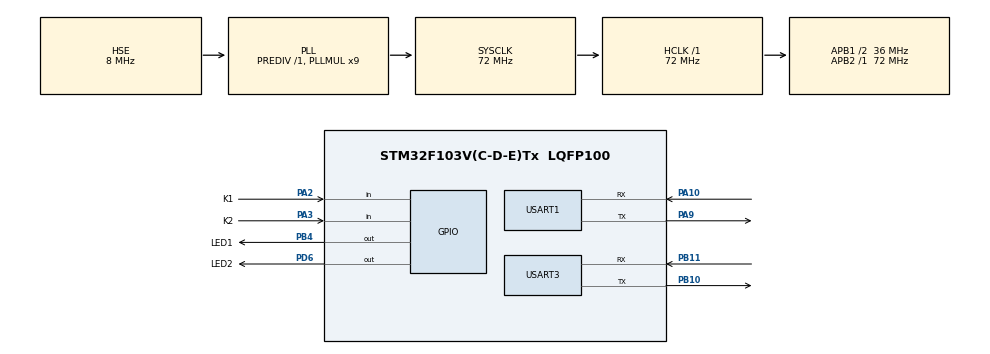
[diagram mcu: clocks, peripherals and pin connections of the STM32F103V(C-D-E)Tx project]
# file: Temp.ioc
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Mcu.Family=STM32F1
Mcu.Name=STM32F103V(C-D-E)Tx
Mcu.Package=LQFP100
NVIC.PriorityGroup=NVIC_PRIORITYGROUP_4
NVIC.USART1_IRQn=true\:0\:0\:false\:false\:true\:true\:true\:true
NVIC.USART3_IRQn=true\:0\:0\:false\:false\:true\:true\:true\:true
OSC_IN.Mode=HSE-External-Oscillator
OSC_IN.Signal=RCC_OSC_IN
OSC_OUT.Mode=HSE-External-Oscillator
OSC_OUT.Signal=RCC_OSC_OUT
PA10.Mode=Asynchronous
PA10.Signal=USART1_RX
PA13.Mode=Serial_Wire
PA13.Signal=SYS_JTMS-SWDIO
PA14.Mode=Serial_Wire
PA14.Signal=SYS_JTCK-SWCLK
PA2.GPIO_Label=K1
PA2.Signal=GPIO_Input
PA3.GPIO_Label=K2
PA3.Signal=GPIO_Input
PA9.Mode=Asynchronous
PA9.Signal=USART1_TX
PB10.Mode=Asynchronous
PB10.Signal=USART3_TX
PB11.Mode=Asynchronous
PB11.Signal=USART3_RX
PB4.GPIO_Label=LED1
PB4.GPIO_ModeDefaultOutputPP=GPIO_MODE_OUTPUT_PP
PB4.GPIO_PuPd=GPIO_PULLUP
PB4.GPIO_Speed=GPIO_SPEED_FREQ_HIGH
PB4.PinState=GPIO_PIN_SET
PB4.Signal=GPIO_Output
PC14-OSC32_IN.Mode=LSE-External-Oscillator
PC14-OSC32_IN.Signal=RCC_OSC32_IN
PC15-OSC32_OUT.Mode=LSE-External-Oscillator
PC15-OSC32_OUT.Signal=RCC_OSC32_OUT
PD6.GPIO_Label=LED2
PD6.GPIO_ModeDefaultOutputPP=GPIO_MODE_OUTPUT_PP
PD6.GPIO_PuPd=GPIO_PULLUP
PD6.GPIO_Speed=GPIO_SPEED_FREQ_HIGH
PD6.PinState=GPIO_PIN_SET
PD6.Signal=GPIO_Output
ProjectManager.HeapSize=0x200
ProjectManager.StackSize=0x400
ProjectManager.TargetToolchain=MDK-ARM V5.32
RCC.AHBFreq_Value=72000000
RCC.APB1CLKDivider=RCC_HCLK_DIV2
RCC.APB1Freq_Value=36000000
RCC.APB1TimFreq_Value=72000000
RCC.APB2Freq_Value=72000000
RCC.APB2TimFreq_Value=72000000
RCC.HCLKFreq_Value=72000000
RCC.PLLMUL=RCC_PLL_MUL9
RCC.PLLSourceVirtual=RCC_PLLSOURCE_HSE
RCC.RCC_MCOSource=RCC_MCO1SOURCE_PLLCLK
RCC.SYSCLKFreq_VALUE=72000000
RCC.SYSCLKSource=RCC_SYSCLKSOURCE_PLLCLK
RCC.USBFreq_Value=72000000
USART1.VirtualMode=VM_ASYNC
USART3.VirtualMode=VM_ASYNC
board=custom

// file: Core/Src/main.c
/* USER CODE BEGIN Header */
/**
  ******************************************************************************
  * @file           : main.c
  * @brief          : Main program body
  ******************************************************************************
  * @attention
  *
  * Copyright (c) 2025 STMicroelectronics.
  * All rights reserved.
  *
  * This software is licensed under terms that can be found in the LICENSE file
  * in the root directory of this software component.
  * If no LICENSE file comes with this software, it is provided AS-IS.
  *
  ******************************************************************************
  */
/* USER CODE END Header */
#include "main.h"

/* USER CODE BEGIN Includes */
#include "stdio.h"//printf������
/* USER CODE END Includes */

/* USER CODE BEGIN PTD */
uint8_t rx_buff[100];  //接收缓存
uint8_t rx_done = 0; //接收完成标志
uint8_t rx_cnt = 0;//接收数据长度
/* USER CODE END PTD */

UART_HandleTypeDef huart1;
UART_HandleTypeDef huart3;

void SystemClock_Config(void);
static void MX_GPIO_Init(void);
static void MX_USART1_UART_Init(void);
static void MX_USART3_UART_Init(void);

int main(void)
{

  /* MCU Configuration--------------------------------------------------------*/

  /* Reset of all peripherals, Initializes the Flash interface and the Systick. */
  HAL_Init();

  /* Configure the system clock */
  SystemClock_Config();

  /* Initialize all configured peripherals */
  MX_GPIO_Init();
  MX_USART1_UART_Init();
  MX_USART3_UART_Init();
  /* USER CODE BEGIN 2 */
	HAL_Delay(1000);
  printf("hello RS422!\r\n");
  //串口发数据
  unsigned char Sendbuf[]="RYMCU nebula-pi RS422 test!\r\n";
  HAL_UART_Transmit(&huart3,Sendbuf,sizeof(Sendbuf),HAL_MAX_DELAY);

  /* USER CODE END 2 */

  /* Infinite loop */
  while (1)
  {

    /* USER CODE BEGIN 3 */
    if(rx_done == 1)//判读是否接收完成
    {
        rx_done = 0;//清除接收标志
        // 数据处理，打印接收长度以及接收的数据
        printf("length of rx data: %d!\r\n",rx_cnt);
        for(int i = 0;i<rx_cnt;i++) printf("%c",rx_buff[i]);
        printf("\r\n");

        rx_cnt =0;//清除接收长度
    }
    HAL_GPIO_TogglePin(LED1_GPIO_Port, LED1_Pin); // 切换亮灭状，添加此语句防止优化
  }
  /* USER CODE END 3 */
}

void SystemClock_Config(void)
{
  RCC_OscInitTypeDef RCC_OscInitStruct = {0};
  RCC_ClkInitTypeDef RCC_ClkInitStruct = {0};

  /** Initializes the RCC Oscillators according to the specified parameters
  * in the RCC_OscInitTypeDef structure.
  */
  RCC_OscInitStruct.OscillatorType = RCC_OSCILLATORTYPE_HSE;
  RCC_OscInitStruct.HSEState = RCC_HSE_ON;
  RCC_OscInitStruct.HSEPredivValue = RCC_HSE_PREDIV_DIV1;
  RCC_OscInitStruct.HSIState = RCC_HSI_ON;
  RCC_OscInitStruct.PLL.PLLState = RCC_PLL_ON;
  RCC_OscInitStruct.PLL.PLLSource = RCC_PLLSOURCE_HSE;
  RCC_OscInitStruct.PLL.PLLMUL = RCC_PLL_MUL9;
  if (HAL_RCC_OscConfig(&RCC_OscInitStruct) != HAL_OK)
  {
    Error_Handler();
  }

  /** Initializes the CPU, AHB and APB buses clocks
  */
  RCC_ClkInitStruct.ClockType = RCC_CLOCKTYPE_HCLK|RCC_CLOCKTYPE_SYSCLK
                              |RCC_CLOCKTYPE_PCLK1|RCC_CLOCKTYPE_PCLK2;
  RCC_ClkInitStruct.SYSCLKSource = RCC_SYSCLKSOURCE_PLLCLK;
  RCC_ClkInitStruct.AHBCLKDivider = RCC_SYSCLK_DIV1;
  RCC_ClkInitStruct.APB1CLKDivider = RCC_HCLK_DIV2;
  RCC_ClkInitStruct.APB2CLKDivider = RCC_HCLK_DIV1;

  if (HAL_RCC_ClockConfig(&RCC_ClkInitStruct, FLASH_LATENCY_2) != HAL_OK)
  {
    Error_Handler();
  }
}

static void MX_USART1_UART_Init(void)
{

  huart1.Instance = USART1;
  huart1.Init.BaudRate = 115200;
  huart1.Init.WordLength = UART_WORDLENGTH_8B;
  huart1.Init.StopBits = UART_STOPBITS_1;
  huart1.Init.Parity = UART_PARITY_NONE;
  huart1.Init.Mode = UART_MODE_TX_RX;
  huart1.Init.HwFlowCtl = UART_HWCONTROL_NONE;
  huart1.Init.OverSampling = UART_OVERSAMPLING_16;
  if (HAL_UART_Init(&huart1) != HAL_OK)
  {
    Error_Handler();
  }
  /* USER CODE BEGIN USART1_Init 2 */
   //开启接收中断，空闲中断
  __HAL_UART_ENABLE_IT(&huart1,UART_IT_IDLE|UART_IT_RXNE);
  /* USER CODE END USART1_Init 2 */

}

static void MX_USART3_UART_Init(void)
{

  huart3.Instance = USART3;
  huart3.Init.BaudRate = 115200;
  huart3.Init.WordLength = UART_WORDLENGTH_8B;
  huart3.Init.StopBits = UART_STOPBITS_1;
  huart3.Init.Parity = UART_PARITY_NONE;
  huart3.Init.Mode = UART_MODE_TX_RX;
  huart3.Init.HwFlowCtl = UART_HWCONTROL_NONE;
  huart3.Init.OverSampling = UART_OVERSAMPLING_16;
  if (HAL_UART_Init(&huart3) != HAL_OK)
  {
    Error_Handler();
  }
  /* USER CODE BEGIN USART3_Init 2 */
 __HAL_UART_ENABLE_IT(&huart3,UART_IT_IDLE|UART_IT_RXNE);//开启接收中断，空闲中断
  /* USER CODE END USART3_Init 2 */

}

static void MX_GPIO_Init(void)
{
  GPIO_InitTypeDef GPIO_InitStruct = {0};

  /* GPIO Ports Clock Enable */
  __HAL_RCC_GPIOC_CLK_ENABLE();
  __HAL_RCC_GPIOA_CLK_ENABLE();
  __HAL_RCC_GPIOB_CLK_ENABLE();
  __HAL_RCC_GPIOD_CLK_ENABLE();

  /*Configure GPIO pin Output Level */
  HAL_GPIO_WritePin(LED2_GPIO_Port, LED2_Pin, GPIO_PIN_SET);

  /*Configure GPIO pin Output Level */
  HAL_GPIO_WritePin(LED1_GPIO_Port, LED1_Pin, GPIO_PIN_SET);

  /*Configure GPIO pins : K1_Pin K2_Pin */
  GPIO_InitStruct.Pin = K1_Pin|K2_Pin;
  GPIO_InitStruct.Mode = GPIO_MODE_INPUT;
  GPIO_InitStruct.Pull = GPIO_NOPULL;
  HAL_GPIO_Init(GPIOA, &GPIO_InitStruct);

  /*Configure GPIO pin : LED2_Pin */
  GPIO_InitStruct.Pin = LED2_Pin;
  GPIO_InitStruct.Mode = GPIO_MODE_OUTPUT_PP;
  GPIO_InitStruct.Pull = GPIO_PULLUP;
  GPIO_InitStruct.Speed = GPIO_SPEED_FREQ_HIGH;
  HAL_GPIO_Init(LED2_GPIO_Port, &GPIO_InitStruct);

  /*Configure GPIO pin : LED1_Pin */
  GPIO_InitStruct.Pin = LED1_Pin;
  GPIO_InitStruct.Mode = GPIO_MODE_OUTPUT_PP;
  GPIO_InitStruct.Pull = GPIO_PULLUP;
  GPIO_InitStruct.Speed = GPIO_SPEED_FREQ_HIGH;
  HAL_GPIO_Init(LED1_GPIO_Port, &GPIO_InitStruct);

}

/* USER CODE BEGIN 4 */
#ifdef __GNUC__
#define PUTCHAR_PROTOTYPE int __io_putchar(int ch)
#else
#define PUTCHAR_PROTOTYPE int fputc(int ch,FILE *f)
#endif /* __GNUC__ */
//重定向printf函数
PUTCHAR_PROTOTYPE
{
  HAL_UART_Transmit(&huart1,(uint8_t *)&ch,1,HAL_MAX_DELAY);//输出指向串口USART1
	return ch;
}
/* USER CODE END 4 */

void Error_Handler(void)
{
  __disable_irq();
  while (1)
  {
  }
}
